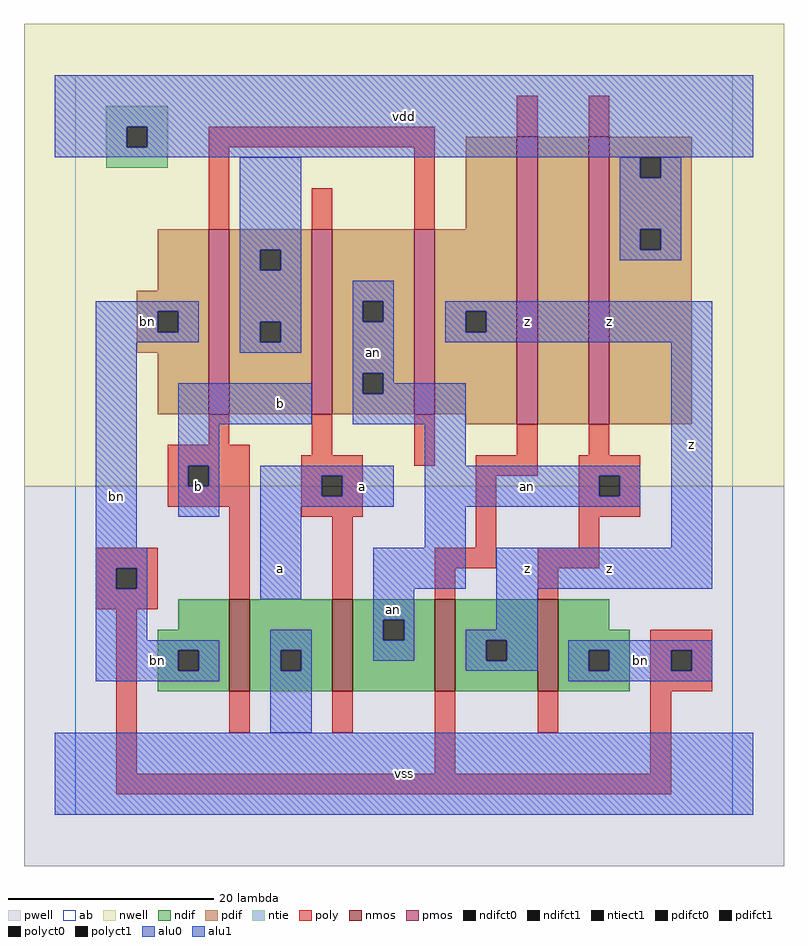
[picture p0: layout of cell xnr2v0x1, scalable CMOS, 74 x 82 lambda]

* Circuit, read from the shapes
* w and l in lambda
.subckt xnr2v0x1 a an b bn vdd vss z
M1 vss b bn VSUBS nfet w=9 l=2
M2 an a vss VSUBS nfet w=9 l=2
M3 z bn an VSUBS nfet w=9 l=2
M4 bn an z VSUBS nfet w=9 l=2
M5 vdd b bn vdd pfet w=18 l=2
M6 an a vdd vdd pfet w=18 l=2
M7 z b an vdd pfet w=18 l=2
M8 n1 bn z vdd pfet w=28 l=2
M9 vdd an n1 vdd pfet w=28 l=2
.ends

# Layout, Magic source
magic
tech scmos
<< ab >>
rect 0 0 64 72
<< nwell >>
rect -5 32 69 77
<< pwell >>
rect -5 -5 69 32
<< poly >>
rect 13 65 35 67
rect 43 66 45 70
rect 50 66 52 70
rect 13 57 15 65
rect 23 57 25 61
rect 33 57 35 65
rect 13 36 15 39
rect 9 34 17 36
rect 23 35 25 39
rect 9 32 11 34
rect 13 32 17 34
rect 9 30 17 32
rect 2 24 8 26
rect 2 22 4 24
rect 6 22 8 24
rect 2 20 8 22
rect 15 21 17 30
rect 22 33 28 35
rect 33 34 35 39
rect 43 35 45 38
rect 50 35 52 38
rect 22 31 24 33
rect 26 31 28 33
rect 22 29 28 31
rect 39 33 45 35
rect 49 33 55 35
rect 25 21 27 29
rect 39 26 41 33
rect 49 31 51 33
rect 53 31 55 33
rect 49 29 55 31
rect 49 26 51 29
rect 35 24 41 26
rect 45 24 51 26
rect 35 21 37 24
rect 45 21 47 24
rect 4 4 6 20
rect 56 16 62 18
rect 56 14 58 16
rect 60 14 62 16
rect 56 12 62 14
rect 15 8 17 12
rect 25 8 27 12
rect 35 4 37 12
rect 45 8 47 12
rect 56 4 58 12
rect 4 2 58 4
<< ndif >>
rect 10 18 15 21
rect 8 16 15 18
rect 8 14 10 16
rect 12 14 15 16
rect 8 12 15 14
rect 17 16 25 21
rect 17 14 20 16
rect 22 14 25 16
rect 17 12 25 14
rect 27 19 35 21
rect 27 17 30 19
rect 32 17 35 19
rect 27 12 35 17
rect 37 17 45 21
rect 37 15 40 17
rect 42 15 45 17
rect 37 12 45 15
rect 47 18 52 21
rect 47 16 54 18
rect 47 14 50 16
rect 52 14 54 16
rect 47 12 54 14
<< pdif >>
rect 38 57 43 66
rect 8 51 13 57
rect 6 49 13 51
rect 6 47 8 49
rect 10 47 13 49
rect 6 45 13 47
rect 8 39 13 45
rect 15 55 23 57
rect 15 53 18 55
rect 20 53 23 55
rect 15 48 23 53
rect 15 46 18 48
rect 20 46 23 48
rect 15 39 23 46
rect 25 50 33 57
rect 25 48 28 50
rect 30 48 33 50
rect 25 43 33 48
rect 25 41 28 43
rect 30 41 33 43
rect 25 39 33 41
rect 35 49 43 57
rect 35 47 38 49
rect 40 47 43 49
rect 35 39 43 47
rect 38 38 43 39
rect 45 38 50 66
rect 52 64 60 66
rect 52 62 55 64
rect 57 62 60 64
rect 52 57 60 62
rect 52 55 55 57
rect 57 55 60 57
rect 52 38 60 55
<< alu1 >>
rect -2 67 66 72
rect -2 65 5 67
rect 7 65 66 67
rect -2 64 66 65
rect 36 49 62 50
rect 36 47 38 49
rect 40 47 62 49
rect 36 46 62 47
rect 10 38 23 42
rect 10 34 14 38
rect 10 32 11 34
rect 13 32 14 34
rect 10 29 14 32
rect 18 33 31 34
rect 18 31 24 33
rect 26 31 31 33
rect 18 30 31 31
rect 18 21 22 30
rect 58 26 62 46
rect 41 22 62 26
rect 41 18 45 22
rect 38 17 45 18
rect 38 15 40 17
rect 42 15 45 17
rect 38 14 45 15
rect -2 0 66 8
<< ntie >>
rect 3 67 9 69
rect 3 65 5 67
rect 7 65 9 67
rect 3 63 9 65
<< nmos >>
rect 15 12 17 21
rect 25 12 27 21
rect 35 12 37 21
rect 45 12 47 21
<< pmos >>
rect 13 39 15 57
rect 23 39 25 57
rect 33 39 35 57
rect 43 38 45 66
rect 50 38 52 66
<< polyct0 >>
rect 4 22 6 24
rect 51 31 53 33
rect 58 14 60 16
<< polyct1 >>
rect 11 32 13 34
rect 24 31 26 33
<< ndifct0 >>
rect 10 14 12 16
rect 20 14 22 16
rect 30 17 32 19
rect 50 14 52 16
<< ndifct1 >>
rect 40 15 42 17
<< ntiect1 >>
rect 5 65 7 67
<< pdifct0 >>
rect 8 47 10 49
rect 18 53 20 55
rect 18 46 20 48
rect 28 48 30 50
rect 28 41 30 43
rect 55 62 57 64
rect 55 55 57 57
<< pdifct1 >>
rect 38 47 40 49
<< alu0 >>
rect 16 55 22 64
rect 16 53 18 55
rect 20 53 22 55
rect 53 62 55 64
rect 57 62 59 64
rect 53 57 59 62
rect 53 55 55 57
rect 57 55 59 57
rect 53 54 59 55
rect 2 49 12 50
rect 2 47 8 49
rect 10 47 12 49
rect 2 46 12 47
rect 16 48 22 53
rect 16 46 18 48
rect 20 46 22 48
rect 2 26 6 46
rect 16 45 22 46
rect 27 50 31 52
rect 27 48 28 50
rect 30 48 31 50
rect 27 43 31 48
rect 27 41 28 43
rect 30 42 31 43
rect 30 41 38 42
rect 27 38 38 41
rect 34 34 38 38
rect 34 33 55 34
rect 34 31 51 33
rect 53 31 55 33
rect 34 30 55 31
rect 2 24 7 26
rect 2 22 4 24
rect 6 22 7 24
rect 2 17 7 22
rect 34 26 38 30
rect 29 22 38 26
rect 29 19 33 22
rect 2 16 14 17
rect 2 14 10 16
rect 12 14 14 16
rect 2 13 14 14
rect 19 16 23 18
rect 19 14 20 16
rect 22 14 23 16
rect 29 17 30 19
rect 32 17 33 19
rect 29 15 33 17
rect 48 16 62 17
rect 48 14 50 16
rect 52 14 58 16
rect 60 14 62 16
rect 19 8 23 14
rect 48 13 62 14
<< labels >>
rlabel alu0 8 15 8 15 6 bn
rlabel alu0 7 48 7 48 6 bn
rlabel alu0 4 31 4 31 6 bn
rlabel alu0 31 20 31 20 6 an
rlabel alu0 29 45 29 45 6 an
rlabel alu0 55 15 55 15 6 bn
rlabel alu0 44 32 44 32 6 an
rlabel alu1 12 32 12 32 6 b
rlabel alu1 28 32 28 32 6 a
rlabel alu1 20 24 20 24 6 a
rlabel alu1 20 40 20 40 6 b
rlabel alu1 32 4 32 4 6 vss
rlabel alu1 44 24 44 24 6 z
rlabel alu1 44 48 44 48 6 z
rlabel alu1 32 68 32 68 6 vdd
rlabel alu1 52 24 52 24 6 z
rlabel alu1 60 36 60 36 6 z
rlabel alu1 52 48 52 48 6 z
<< end >>
